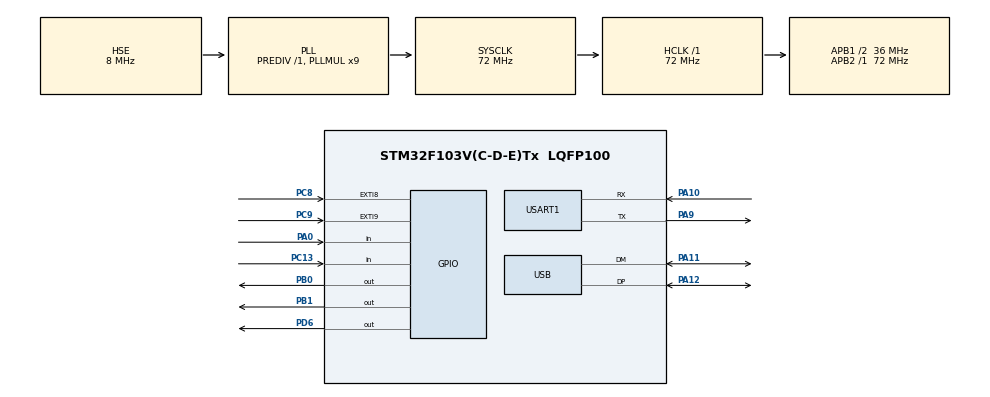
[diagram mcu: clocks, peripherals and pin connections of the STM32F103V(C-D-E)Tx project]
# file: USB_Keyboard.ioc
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Mcu.Family=STM32F1
Mcu.Name=STM32F103V(C-D-E)Tx
Mcu.Package=LQFP100
NVIC.EXTI9_5_IRQn=true\:0\:0\:false\:false\:true\:true\:true\:true
NVIC.PriorityGroup=NVIC_PRIORITYGROUP_4
NVIC.USB_LP_CAN1_RX0_IRQn=true\:0\:0\:false\:false\:true\:false\:true\:true
OSC_IN.Mode=HSE-External-Oscillator
OSC_IN.Signal=RCC_OSC_IN
OSC_OUT.Mode=HSE-External-Oscillator
OSC_OUT.Signal=RCC_OSC_OUT
PA0-WKUP.GPIO_PuPd=GPIO_PULLDOWN
PA0-WKUP.Signal=GPIO_Input
PA10.Mode=Asynchronous
PA10.Signal=USART1_RX
PA11.Mode=Device
PA11.Signal=USB_DM
PA12.Mode=Device
PA12.Signal=USB_DP
PA13.Mode=Serial_Wire
PA13.Signal=SYS_JTMS-SWDIO
PA14.Mode=Serial_Wire
PA14.Signal=SYS_JTCK-SWCLK
PA9.Mode=Asynchronous
PA9.Signal=USART1_TX
PB0.PinState=GPIO_PIN_SET
PB0.Signal=GPIO_Output
PB1.PinState=GPIO_PIN_SET
PB1.Signal=GPIO_Output
PC13-TAMPER-RTC.GPIO_PuPd=GPIO_PULLDOWN
PC13-TAMPER-RTC.Signal=GPIO_Input
PC8.GPIO_ModeDefaultEXTI=GPIO_MODE_IT_FALLING
PC8.GPIO_PuPd=GPIO_PULLUP
PC8.Signal=GPXTI8
PC9.GPIO_ModeDefaultEXTI=GPIO_MODE_IT_FALLING
PC9.GPIO_PuPd=GPIO_PULLUP
PC9.Signal=GPXTI9
PD6.PinState=GPIO_PIN_RESET
PD6.Signal=GPIO_Output
ProjectManager.HeapSize=0x200
ProjectManager.StackSize=0x400
ProjectManager.TargetToolchain=MDK-ARM V5.32
RCC.AHBFreq_Value=72000000
RCC.APB1CLKDivider=RCC_HCLK_DIV2
RCC.APB1Freq_Value=36000000
RCC.APB1TimFreq_Value=72000000
RCC.APB2Freq_Value=72000000
RCC.APB2TimFreq_Value=72000000
RCC.HCLKFreq_Value=72000000
RCC.PLLMUL=RCC_PLL_MUL9
RCC.PLLSourceVirtual=RCC_PLLSOURCE_HSE
RCC.SYSCLKFreq_VALUE=72000000
RCC.SYSCLKSource=RCC_SYSCLKSOURCE_PLLCLK
RCC.USBFreq_Value=48000000
RCC.USBPrescaler=RCC_USBCLKSOURCE_PLL_DIV1_5
USART1.VirtualMode=VM_ASYNC
USB_DEVICE.CLASS_NAME_FS=HID
USB_DEVICE.PID_HID_FS=20000
USB_DEVICE.PRODUCT_STRING_HID_FS=STM32 Keybroad
USB_DEVICE.VID=1000
USB_DEVICE.VirtualMode=Hid
USB_DEVICE.VirtualModeFS=Hid_FS
VP_USB_DEVICE_VS_USB_DEVICE_HID_FS.Mode=HID_FS
board=custom

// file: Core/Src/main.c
/* USER CODE BEGIN Header */
/**
  ******************************************************************************
	一. 程序结构说明
	此程序在只调用了USB外设的PA11和PA12引脚和几个按键输入引脚(bsp_key.c)，对于STM32F103，只需要修改bsp_key中的
	引脚定义和gpio.c中的引脚初始化即可，LED可以不用。若用CubeMX重新覆盖此程序，则会将描述符覆盖掉，需要重新添加描述符，步骤如下。若想避免的话覆盖
	自己的HID，在USB外设中，选自定义HID设备即可。

	二. 如何移植程序
	使用CubeMX生成，添加USB库，初始化代码后，需要做如下操作
	1. 修改HID报告描述符：在usbd_desc.c文件中找到数组 HID_MOUSE_ReportDesc[HID_MOUSE_REPORT_DESC_SIZE]即为
	HID报告描述的存放位置，初始化程序的描述符仅实现了鼠标的功能，可以删掉，用此程序描述符替换。HID报告描述符
	事先定义了我们要给电脑发送的数据的格式，好让电脑识别，也可以根据需要自己修改描述符。
	2. 替换完成后，需要修改描述符数组的大小，在usbd_hid.h中找到HID_MOUSE_REPORT_DESC_SIZE定义的地方，将其
	修改为我们自己的报告描述符的大小，此程序的描述的大小为176字节。同时要修改发送一次数据字节的长度，在usbd_hid.h中
	的HID_EPIN_SIZE，具体大小根据报告描述符定义的格式计算出，这个不包含ReportID所占用的一个字节。本例中
	为8(键盘)+1(多媒体)+4(鼠标)=13字节。
	3. usbd_hid.c中函数USBD_HID_CfgFSDesc()中，需要将nInterfaceProtocol项目改位0x01，这样插入电脑后，识别到的即为
	键盘，不改的话识别为鼠标。usbd_conf.h中的HID_FS_BINTERVAL可设置设置电脑轮询的时间间隔，单位为ms，此程序设置为1，
	两个发送函数之间的时间间隔尽量大于此时间

	三. 其他注意事项
	经过多次测试，发生数据的格式必须如下，以发送a为例
		buff=a的键值  //赋值操作
		发送数据      //表示按下按键a
		delayms
		buff =0     //清空数值
		发送数据    //发送空的值，表示抬起按键a

		注意：两个发送数据的延时一定要有，尽量大于设定的轮询间隔，延时时间过小容易卡死。
		发送a的值后，要跟着发送一个空值，表示抬起，否则就会出现长按的现象

	对于EC11旋转编码器，定义了2个引脚，采用检测下降沿中的方式来确定旋转，模块自带有滤波电容，没有做软件消抖处理。经过测试
	几乎不会发送丢步现象。
  ******************************************************************************
  */
/* USER CODE END Header */
#include "main.h"
#include "usart.h"
#include "usb_device.h"
#include "gpio.h"

/* USER CODE BEGIN Includes */

#include "bsp_key.h"
#include "bsp_led.h"
#include "bsp_usart.h"
/* USER CODE END Includes */

/* USER CODE BEGIN PV */
extern USBD_HandleTypeDef hUsbDeviceFS;
extern uint8_t USBD_HID_SendReport (USBD_HandleTypeDef *pdev,
                                 uint8_t *report,
                                 uint16_t len);
#define BUFF_KEY_SIZE 9
#define BUFF_Audio_SIZE 2
#define BUFF_Mouse_SIZE 5

//键盘发送数据
//字节1为ReportID:1，字节2为功能键盘，每一位对应一个按键，
/*  更详细的规定参考文档Device Class Definition for HID的8.3节
					Bit Key
					0 LEFT CTRL
					1 LEFT SHIFT
					2 LEFT ALT
					3 LEFT GUI
					4 RIGHT CTRL
					5 RIGHT SHIFT
					6 RIGHT ALT
					7 RIGHT GUI
*/
//字节3保留，字节4-9表示表示按键键值，
//每个按键对于的值可在HID Usage Tables文档中的第10节查询
uint8_t buff_Key[9]={0x01,0x00,0x00,0x00,0x00,0x00,0x00,0x00,0x00};

//多媒体发送数组，根据HID报告描述符的定义，第一个字节位ReportID:2,
//第二个字节从高到低，每一位分别对应：
/*	      Bit 功能
					0   音量升高
					1   音量减小
					2   静音
					3   播放/暂停
					4   暂停
					5   下一首
					6   上一首
					7   退出播放
*/
//更多的操作在HID描述符中添加，参考HID Usage Tables的15节Consumer Page
//0x01即表示音量升高
uint8_t buff_Audio[2]={0x02,0x00};

//鼠标发送数组
//第一个字为ReportID:3，字节2的0000 0xxx后三位分别表示中间单击，右键单击，左键单机
//字节3为x轴移动距离，字节4为y轴移动距离，字节5为滚轮移动值 其范围为-127~127
uint8_t buff_Mouse[5]={0x03,0x00,0x00,0x00,0x00};

//后续可以都写成结构体的形式，赋值更方便
//这些数据每一位的定义可在usbd_hid.c中HID_MOUSE_ReportDescs规定，可自行修改

/* USER CODE END PV */

void SystemClock_Config(void);
/* USER CODE BEGIN PFP */

//HID数据发送函数
void Send_USB_Buff(uint8_t *buff,uint8_t size)
{
	USBD_HID_SendReport(&hUsbDeviceFS, buff, size);
	HAL_Delay(1);   //两个相邻的上报函数之间一定要有延时，否则无法发送
}

/* USER CODE END PFP */

/* USER CODE BEGIN 0 */

//编码器的状态，中断函数检测编码器引脚变化来改变状态
uint8_t Coder_State=Static_State;

/* USER CODE END 0 */

int main(void)
{

  /* MCU Configuration--------------------------------------------------------*/

  /* Reset of all peripherals, Initializes the Flash interface and the Systick. */
  HAL_Init();

  /* Configure the system clock */
  SystemClock_Config();

  /* Initialize all configured peripherals */
  MX_GPIO_Init();
  MX_USB_DEVICE_Init();
  MX_USART1_UART_Init();

  /* Infinite loop */
  /* USER CODE BEGIN WHILE */
  while (1)
  {

		//下面展示了三种功能，由于我的开发板只有2个按键，因此只能分别注释掉，单独测试每一部分
		//按键多的话，可以全部打开
/*****************************************/
		//1. 鼠标控制
		/*
		if(KEY1_Input()==KEY_ON) //按键1按下
		{
			LED0_ON();
		//下面三组可选择一组测试
			buff_Mouse[2] = -3; //鼠标左移3个单位
			//buff_Mouse[1] = 0x01; //左键点击 0000 0001
			//buff_Mouse[4]= 2;     //滚轮上移2个单位
		}
		else
		{
			LED0_OFF();
		}

		if(KEY2_Input()==KEY_ON) //按键2按下
		{
			LED1_ON();
			buff_Mouse[2] = 3;  //鼠标右移3个单位
			//buff_Mouse[1] = 0x02; //右键点击; 0000 0010
			//buff_Mouse[4]= -2;     //滚轮下
		}
		else
		{
			LED1_OFF();
		}

		Send_USB_Buff(buff_Mouse,BUFF_Mouse_SIZE); //上报鼠标数据
		HAL_Delay(1);  //移动过快可以增加此处的延时  两个上报函数之间一定要有延时，否则无法发送
		buff_Mouse[2]=0; //移动数据清零
		//buff_Mouse[1] = 0x00; //按键数据清零
		//buff_Mouse[4]= 0;     //滚轮数据清零

		*/
/*****************************************/
		//2.按键输入
		/*
		if(KEY1_Input()==KEY_ON)
		{
			LED0_ON();
			buff_Key[3]=0x04; //输入a
			//buff_Key[1]=0x01 //左Ctrl
			//buff_Key[4] = 0x06 //输入C
			//一次报文可发送最多6个按键，若想要实现一次发送所有按键的状态，需要使用Bit Map来定义HID
		}
		else
		{
			LED0_OFF();
		}

		if(KEY2_Input()==KEY_ON)
		{
			LED1_ON();
			buff_Key[4]=0x05; //输入b
		}
		else
		{
			LED1_OFF();
		}
		Send_USB_Buff(buff_Key,BUFF_KEY_SIZE); //上报按键数据
		HAL_Delay(1);
		//清楚按键数据，不然会一直发送
		buff_Key[3]=0x00;
		buff_Key[4]=0x00;
		*/

/*****************************************/
		//3. 多媒体控制

		if(KEY1_Input()==KEY_ON)
		{
			LED0_ON();
			//buff_Audio[1]= 0x01; //音量增
			buff_Audio[1] = 0x20; //下一首 0010 0000  按键按下后，保持的时间较长，循环会多次检测到，倒是
		}
		else
		{
			LED0_OFF();
		}

		if(KEY2_Input()==KEY_ON)
		{
			LED1_ON();
			//buff_Audio[1] |= 0x02; //音量减
			buff_Audio[1] |= 0x08; //开始/暂停 0000 1000
		}
		else
		{
			LED1_OFF();
		}

		//旋钮的检测
		//编码器状态的检测在中断中进行

		if(Coder_State==Down_Clock ) //旋钮顺时针旋转
		{
			LED0_Toggle();
			buff_Audio[1] |= 0x01; //音量增
			Coder_State=Static_State;  //状态清零 注意，这个一定要在if内，在循环中会影响中断的进行
		}
		else if(Coder_State==Down_AntiClock) //旋钮逆时针旋转
		{
			LED0_Toggle();
			buff_Audio[1] |= 0x02;  //音量减
			Coder_State=Static_State;
		}

		Send_USB_Buff(buff_Audio,BUFF_Audio_SIZE); //上报按键数据
		HAL_Delay(15);//由于按键按下后保持低电平时间较长，循环时间短，多次检测到按键，导致多次发送指令，无法实现精确控制
										//增加此延时时间可缓解此现象，但建议在测试时这样改，实际项目中建议采用单独的定时器中断的方式来检测
		buff_Audio[1]=0x00; // 数据清零

/*****************************************/
    /* USER CODE END WHILE */

  }
}

void SystemClock_Config(void)
{
  RCC_OscInitTypeDef RCC_OscInitStruct = {0};
  RCC_ClkInitTypeDef RCC_ClkInitStruct = {0};
  RCC_PeriphCLKInitTypeDef PeriphClkInit = {0};

  /** Initializes the RCC Oscillators according to the specified parameters
  * in the RCC_OscInitTypeDef structure.
  */
  RCC_OscInitStruct.OscillatorType = RCC_OSCILLATORTYPE_HSE;
  RCC_OscInitStruct.HSEState = RCC_HSE_ON;
  RCC_OscInitStruct.HSEPredivValue = RCC_HSE_PREDIV_DIV1;
  RCC_OscInitStruct.HSIState = RCC_HSI_ON;
  RCC_OscInitStruct.PLL.PLLState = RCC_PLL_ON;
  RCC_OscInitStruct.PLL.PLLSource = RCC_PLLSOURCE_HSE;
  RCC_OscInitStruct.PLL.PLLMUL = RCC_PLL_MUL9;
  if (HAL_RCC_OscConfig(&RCC_OscInitStruct) != HAL_OK)
  {
    Error_Handler();
  }

  /** Initializes the CPU, AHB and APB buses clocks
  */
  RCC_ClkInitStruct.ClockType = RCC_CLOCKTYPE_HCLK|RCC_CLOCKTYPE_SYSCLK
                              |RCC_CLOCKTYPE_PCLK1|RCC_CLOCKTYPE_PCLK2;
  RCC_ClkInitStruct.SYSCLKSource = RCC_SYSCLKSOURCE_PLLCLK;
  RCC_ClkInitStruct.AHBCLKDivider = RCC_SYSCLK_DIV1;
  RCC_ClkInitStruct.APB1CLKDivider = RCC_HCLK_DIV2;
  RCC_ClkInitStruct.APB2CLKDivider = RCC_HCLK_DIV1;

  if (HAL_RCC_ClockConfig(&RCC_ClkInitStruct, FLASH_LATENCY_2) != HAL_OK)
  {
    Error_Handler();
  }
  PeriphClkInit.PeriphClockSelection = RCC_PERIPHCLK_USB;
  PeriphClkInit.UsbClockSelection = RCC_USBCLKSOURCE_PLL_DIV1_5;
  if (HAL_RCCEx_PeriphCLKConfig(&PeriphClkInit) != HAL_OK)
  {
    Error_Handler();
  }
}

void Error_Handler(void)
{
  __disable_irq();
  while (1)
  {
  }
}
